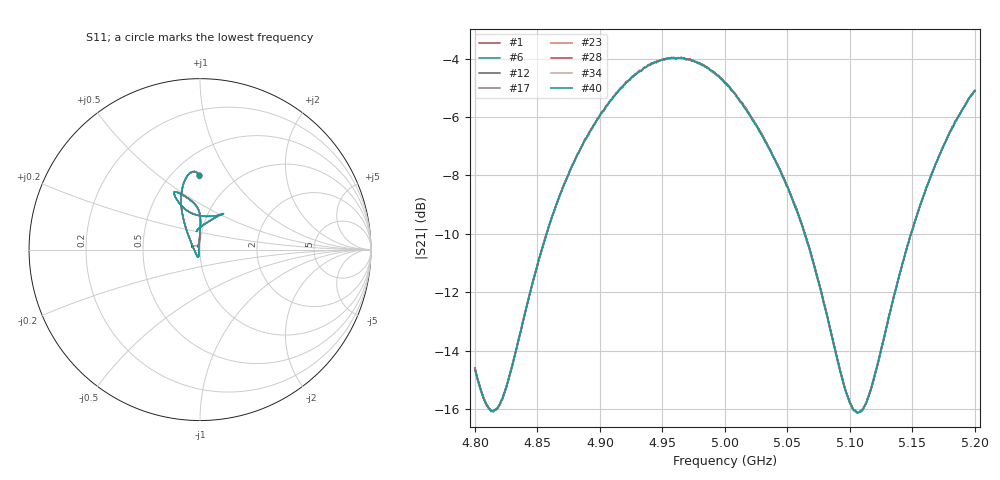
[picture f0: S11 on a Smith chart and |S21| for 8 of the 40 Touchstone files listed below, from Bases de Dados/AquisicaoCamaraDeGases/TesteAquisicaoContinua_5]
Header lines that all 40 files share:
! Network Analyzer HP8722D
! Hewlett-Packard
! Data name: Linha & Wilkinson
! Saver's name: Rodrigo Anjos
! Comments: Teste da utilização de aquisição
! continua pelo VNA HP8722D
!  Frequency  S11  S21  S12  S22
# HZ  S  MA R 50
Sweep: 4.8 GHz to 5.2 GHz
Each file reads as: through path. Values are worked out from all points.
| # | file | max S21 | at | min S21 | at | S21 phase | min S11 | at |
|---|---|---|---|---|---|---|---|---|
| 1 | teste_arseco&borbulhador_Acetona_10-80_40.S2P | -3.97 dB | 4.957 GHz | -16.1 dB | 5.105 GHz | -89 deg at 5 GHz | -43.6 dB | 4.928 GHz |
| 2 | teste_arseco&borbulhador_Acetona_10-80_41.S2P | -3.96 dB | 4.959 GHz | -16.1 dB | 5.107 GHz | -89 deg at 5 GHz | -43.5 dB | 4.928 GHz |
| 3 | teste_arseco&borbulhador_Acetona_10-80_42.S2P | -3.96 dB | 4.959 GHz | -16.1 dB | 5.106 GHz | -89 deg at 5 GHz | -43.7 dB | 4.928 GHz |
| 4 | teste_arseco&borbulhador_Acetona_10-80_43.S2P | -3.96 dB | 4.965 GHz | -16.1 dB | 5.106 GHz | -89 deg at 5 GHz | -43.3 dB | 4.928 GHz |
| 5 | teste_arseco&borbulhador_Acetona_10-80_44.S2P | -3.95 dB | 4.963 GHz | -16.1 dB | 5.107 GHz | -89 deg at 5 GHz | -43.7 dB | 4.928 GHz |
| 6 | teste_arseco&borbulhador_Acetona_10-80_45.S2P | -3.95 dB | 4.959 GHz | -16.1 dB | 5.106 GHz | -89 deg at 5 GHz | -43.8 dB | 4.928 GHz |
| 7 | teste_arseco&borbulhador_Acetona_10-80_46.S2P | -3.96 dB | 4.965 GHz | -16.1 dB | 5.106 GHz | -89 deg at 5 GHz | -43.7 dB | 4.928 GHz |
| 8 | teste_arseco&borbulhador_Acetona_10-80_47.S2P | -3.94 dB | 4.965 GHz | -16.1 dB | 5.107 GHz | -89 deg at 5 GHz | -43.7 dB | 4.929 GHz |
| 9 | teste_arseco&borbulhador_Acetona_10-80_48.S2P | -3.96 dB | 4.957 GHz | -16.1 dB | 5.106 GHz | -89 deg at 5 GHz | -44.2 dB | 4.929 GHz |
| 10 | teste_arseco&borbulhador_Acetona_10-80_49.S2P | -3.96 dB | 4.96 GHz | -16.1 dB | 5.107 GHz | -89 deg at 5 GHz | -43.9 dB | 4.928 GHz |
| 11 | teste_arseco&borbulhador_Acetona_10-80_50.S2P | -3.95 dB | 4.965 GHz | -16.1 dB | 5.107 GHz | -89 deg at 5 GHz | -43.3 dB | 4.928 GHz |
| 12 | teste_arseco&borbulhador_Acetona_10-80_51.S2P | -3.97 dB | 4.957 GHz | -16.1 dB | 5.107 GHz | -89 deg at 5 GHz | -43.3 dB | 4.929 GHz |
| 13 | teste_arseco&borbulhador_Acetona_10-80_52.S2P | -3.96 dB | 4.957 GHz | -16.1 dB | 5.107 GHz | -89 deg at 5 GHz | -43.8 dB | 4.928 GHz |
| 14 | teste_arseco&borbulhador_Acetona_10-80_53.S2P | -3.95 dB | 4.965 GHz | -16.1 dB | 5.106 GHz | -89 deg at 5 GHz | -43.8 dB | 4.928 GHz |
| 15 | teste_arseco&borbulhador_Acetona_10-80_54.S2P | -3.95 dB | 4.957 GHz | -16.1 dB | 5.106 GHz | -89 deg at 5 GHz | -43.6 dB | 4.928 GHz |
| 16 | teste_arseco&borbulhador_Acetona_10-80_55.S2P | -3.95 dB | 4.965 GHz | -16.1 dB | 5.106 GHz | -89 deg at 5 GHz | -43.5 dB | 4.928 GHz |
| 17 | teste_arseco&borbulhador_Acetona_10-80_56.S2P | -3.96 dB | 4.965 GHz | -16.1 dB | 5.106 GHz | -89 deg at 5 GHz | -44.1 dB | 4.928 GHz |
| 18 | teste_arseco&borbulhador_Acetona_10-80_57.S2P | -3.95 dB | 4.959 GHz | -16.1 dB | 5.106 GHz | -89 deg at 5 GHz | -43.9 dB | 4.929 GHz |
| 19 | teste_arseco&borbulhador_Acetona_10-80_58.S2P | -3.96 dB | 4.957 GHz | -16.1 dB | 5.106 GHz | -89 deg at 5 GHz | -43.7 dB | 4.928 GHz |
| 20 | teste_arseco&borbulhador_Acetona_10-80_59.S2P | -3.94 dB | 4.965 GHz | -16.1 dB | 5.106 GHz | -89 deg at 5 GHz | -43.2 dB | 4.928 GHz |
| 21 | teste_arseco&borbulhador_Acetona_10-80_60.S2P | -3.95 dB | 4.959 GHz | -16.1 dB | 5.106 GHz | -89 deg at 5 GHz | -43.3 dB | 4.928 GHz |
| 22 | teste_arseco&borbulhador_Acetona_10-80_61.S2P | -3.96 dB | 4.957 GHz | -16.1 dB | 5.107 GHz | -89 deg at 5 GHz | -43.3 dB | 4.928 GHz |
| 23 | teste_arseco&borbulhador_Acetona_10-80_62.S2P | -3.96 dB | 4.965 GHz | -16.1 dB | 5.105 GHz | -89 deg at 5 GHz | -43.2 dB | 4.928 GHz |
| 24 | teste_arseco&borbulhador_Acetona_10-80_63.S2P | -3.97 dB | 4.965 GHz | -16.1 dB | 5.106 GHz | -89 deg at 5 GHz | -43.1 dB | 4.928 GHz |
| 25 | teste_arseco&borbulhador_Acetona_10-80_64.S2P | -3.95 dB | 4.965 GHz | -16.1 dB | 5.106 GHz | -89 deg at 5 GHz | -42.9 dB | 4.928 GHz |
| 26 | teste_arseco&borbulhador_Acetona_10-80_65.S2P | -3.97 dB | 4.959 GHz | -16.1 dB | 5.107 GHz | -89 deg at 5 GHz | -42.8 dB | 4.928 GHz |
| 27 | teste_arseco&borbulhador_Acetona_10-80_66.S2P | -3.97 dB | 4.964 GHz | -16.1 dB | 5.105 GHz | -89 deg at 5 GHz | -43.4 dB | 4.928 GHz |
| 28 | teste_arseco&borbulhador_Acetona_10-80_67.S2P | -3.96 dB | 4.965 GHz | -16.1 dB | 5.107 GHz | -89 deg at 5 GHz | -42.7 dB | 4.928 GHz |
| 29 | teste_arseco&borbulhador_Acetona_10-80_68.S2P | -3.97 dB | 4.959 GHz | -16.1 dB | 5.106 GHz | -89 deg at 5 GHz | -42.5 dB | 4.928 GHz |
| 30 | teste_arseco&borbulhador_Acetona_10-80_69.S2P | -3.96 dB | 4.957 GHz | -16.1 dB | 5.106 GHz | -89 deg at 5 GHz | -42.7 dB | 4.928 GHz |
| 31 | teste_arseco&borbulhador_Acetona_10-80_70.S2P | -3.97 dB | 4.959 GHz | -16.1 dB | 5.106 GHz | -89 deg at 5 GHz | -42.3 dB | 4.928 GHz |
| 32 | teste_arseco&borbulhador_Acetona_10-80_71.S2P | -3.96 dB | 4.965 GHz | -16.1 dB | 5.105 GHz | -89 deg at 5 GHz | -42.4 dB | 4.928 GHz |
| 33 | teste_arseco&borbulhador_Acetona_10-80_72.S2P | -3.96 dB | 4.958 GHz | -16.1 dB | 5.106 GHz | -89 deg at 5 GHz | -42.5 dB | 4.928 GHz |
| 34 | teste_arseco&borbulhador_Acetona_10-80_73.S2P | -3.96 dB | 4.957 GHz | -16.1 dB | 5.105 GHz | -89 deg at 5 GHz | -42.6 dB | 4.928 GHz |
| 35 | teste_arseco&borbulhador_Acetona_10-80_74.S2P | -3.97 dB | 4.965 GHz | -16.1 dB | 5.106 GHz | -89 deg at 5 GHz | -42.5 dB | 4.928 GHz |
| 36 | teste_arseco&borbulhador_Acetona_10-80_75.S2P | -3.97 dB | 4.959 GHz | -16.1 dB | 5.106 GHz | -89 deg at 5 GHz | -42.7 dB | 4.928 GHz |
| 37 | teste_arseco&borbulhador_Acetona_10-80_76.S2P | -3.97 dB | 4.959 GHz | -16.1 dB | 5.106 GHz | -89 deg at 5 GHz | -42.4 dB | 4.928 GHz |
| 38 | teste_arseco&borbulhador_Acetona_10-80_77.S2P | -3.95 dB | 4.965 GHz | -16.1 dB | 5.107 GHz | -89 deg at 5 GHz | -42.6 dB | 4.928 GHz |
| 39 | teste_arseco&borbulhador_Acetona_10-80_78.S2P | -3.97 dB | 4.965 GHz | -16.1 dB | 5.106 GHz | -89 deg at 5 GHz | -42.8 dB | 4.928 GHz |
| 40 | teste_arseco&borbulhador_Acetona_10-80_79.S2P | -3.97 dB | 4.965 GHz | -16.1 dB | 5.106 GHz | -89 deg at 5 GHz | -42.9 dB | 4.928 GHz |
